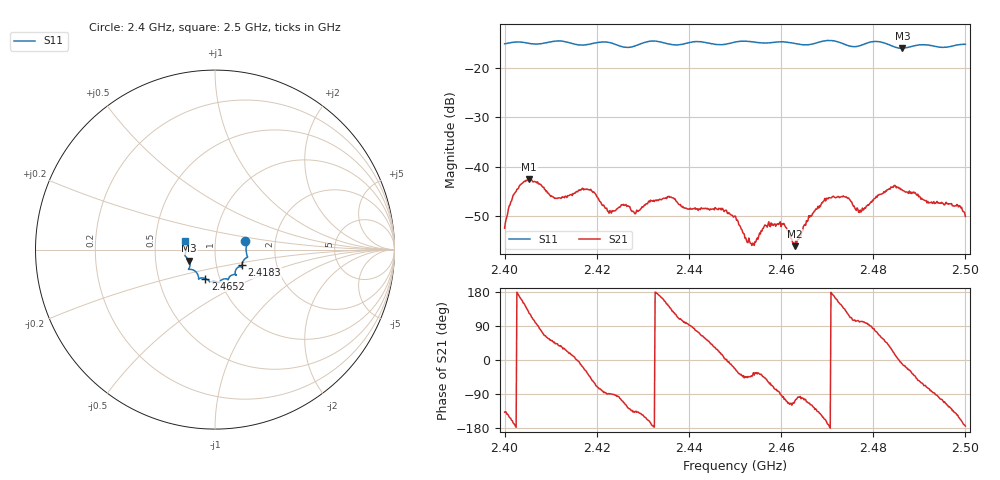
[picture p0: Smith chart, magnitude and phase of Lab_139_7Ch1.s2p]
# Hz S RI R 50
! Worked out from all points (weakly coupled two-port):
!   601 points, 2.4 GHz to 2.5 GHz, reference 50 ohm
!   highest |S21| = -42.57 dB at 2.4053 GHz (marker M1); lowest = -56.0 dB at 2.463 GHz (marker M2)
!   lowest |S11| = -16.1 dB at 2.4863 GHz (marker M3), VSWR 1.37, Z = 37.2 - j4.74 ohm
!   |S11| at or under -10 dB: start of sweep to end of sweep
!   S12 and S22 are empty: the file has one direction only
!   S11 on the Smith chart (normalised r, x): 2.4 GHz: 1.40, +0.13; 2.4183 GHz: 1.33, -0.24; 2.4652 GHz: 0.85, -0.28; 2.5 GHz: 0.71, +0.07
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2.4e9  0.1678 0.0466  -0.00177 -0.00161  0 0  0 0
2.402167e9  0.1773 0.0358  -0.0053 -0.000907  0 0  0 0
2.405333e9  0.175 0.0159  -0.00403 0.00625  0 0  0 0
2.411167e9  0.1815 -0.0393  0.0035 0.00326  0 0  0 0
2.416667e9  0.1549 -0.068  0.00569 -0.0014  0 0  0 0
2.418333e9  0.1496 -0.0861  0.00437 -0.00392  0 0  0 0
2.422833e9  0.1502 -0.0978  2.9e-05 -0.00362  0 0  0 0
2.425833e9  0.1275 -0.0991  -0.0016 -0.00385  0 0  0 0
2.428667e9  0.1126 -0.1249  -0.00271 -0.00243  0 0  0 0
2.433333e9  0.1172 -0.1416  -0.00452 0.000576  0 0  0 0
2.45e9  0.0257 -0.1798  0.00294 -0.00125  0 0  0 0
2.453667e9  0.0158 -0.182  0.00117 -0.0011  0 0  0 0
2.456833e9  -0.00741 -0.1774  0.00159 -0.00197  0 0  0 0
2.460167e9  -0.0275 -0.1804  -0.00021 -0.00265  0 0  0 0
2.463e9  -0.036 -0.1718  -0.000492 -0.0015  0 0  0 0
2.465167e9  -0.0543 -0.1613  -0.000602 -0.00255  0 0  0 0
2.466667e9  -0.0707 -0.1578  -0.00155 -0.00281  0 0  0 0
2.471e9  -0.0914 -0.1641  -0.00488 0.000422  0 0  0 0
2.477333e9  -0.1248 -0.1124  -0.000716 0.00341  0 0  0 0
2.483333e9  -0.1413 -0.0967  0.0046 0.00374  0 0  0 0
2.486333e9  -0.144 -0.0623  0.00568 -0.0011  0 0  0 0
2.5e9  -0.1656 0.0472  -0.00313 -0.000317  0 0  0 0
